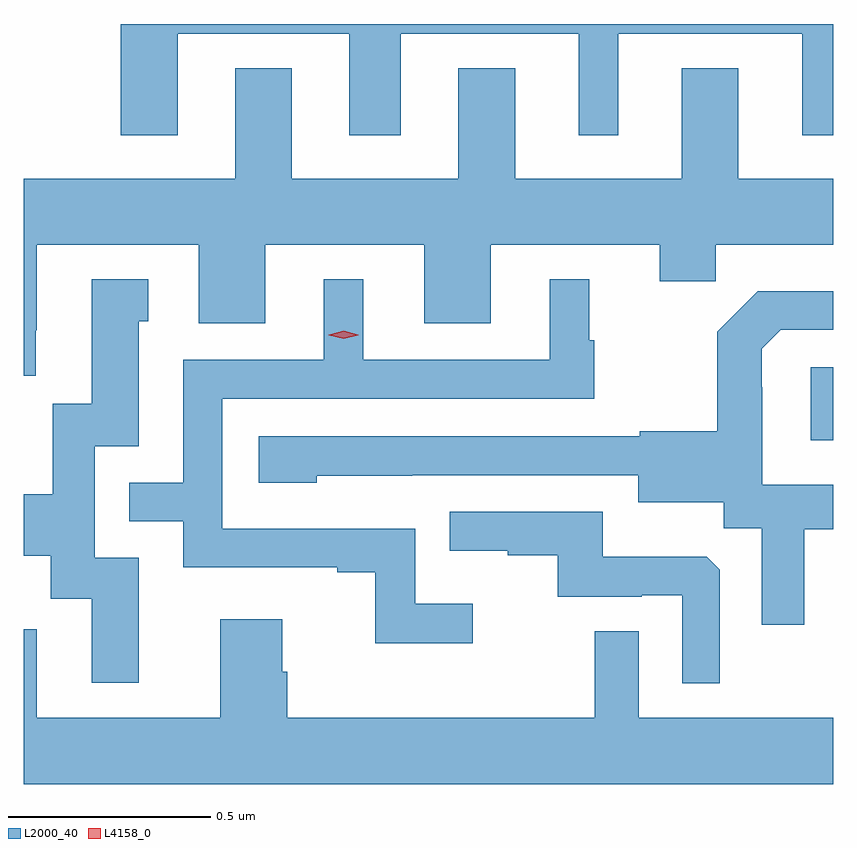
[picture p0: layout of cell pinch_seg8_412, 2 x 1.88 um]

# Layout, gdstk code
import gdstk
lib = gdstk.Library(unit=1e-6, precision=1e-09)
def R(c, l, rs):  # rectangles x0, y0, x1, y1
    for r in rs: c.add(gdstk.rectangle(r[:2], r[2:], *l))
def P(c, l, *ps):  # polygons
    for p in ps: c.add(gdstk.Polygon(p, *l))
L2000_40 = (2000, 40)
L4158_0 = (4158, 0)

pinch_seg8_412 = lib.new_cell('pinch_seg8_412')
R(pinch_seg8_412, L2000_40, [(503.867,1121.346,503.923,1121.526)])
P(pinch_seg8_412, L2000_40, [(502.303,1122.35),(502.727,1122.35),(502.727,1122.099),(502.855,1122.099),(502.855,1122.35),(503.294,1122.35),(503.294,1122.099),(503.392,1122.099),(503.392,1122.35),(503.846,1122.35),(503.846,1122.099),(503.923,1122.099),(503.923,1122.374),(502.163,1122.374),(502.163,1122.099),(502.303,1122.099)],
  [(501.952,1121.617),(501.955,1121.617),(501.955,1121.828),(502.355,1121.828),(502.355,1121.634),(502.519,1121.634),(502.519,1121.828),(502.913,1121.828),(502.913,1121.634),(503.077,1121.634),(503.077,1121.828),(503.495,1121.828),(503.495,1121.738),(503.633,1121.738),(503.633,1121.828),(503.923,1121.828),(503.923,1121.992),(503.689,1121.992),(503.689,1122.265),(503.549,1122.265),(503.549,1121.992),(503.137,1121.992),(503.137,1122.265),(502.997,1122.265),(502.997,1121.992),(502.585,1121.992),(502.585,1122.265),(502.445,1122.265),(502.445,1121.992),(501.923,1121.992),(501.923,1121.505),(501.952,1121.505)],
  [(503.032,1120.942),(502.89,1120.942),(502.89,1121.127),(502.413,1121.127),(502.413,1121.448),(503.332,1121.448),(503.332,1121.592),(503.32,1121.592),(503.32,1121.743),(503.222,1121.743),(503.222,1121.544),(502.762,1121.544),(502.762,1121.743),(502.664,1121.743),(502.664,1121.544),(502.317,1121.544),(502.317,1121.241),(502.183,1121.241),(502.183,1121.145),(502.317,1121.145),(502.317,1121.031),(502.697,1121.031),(502.697,1121.019),(502.792,1121.019),(502.792,1120.844),(503.032,1120.844)],
  [(502.207,1121.055),(502.098,1121.055),(502.098,1121.331),(502.207,1121.331),(502.207,1121.64),(502.231,1121.64),(502.231,1121.743),(502.091,1121.743),(502.091,1121.436),(501.995,1121.436),(501.995,1121.212),(501.923,1121.212),(501.923,1121.06),(501.99,1121.06),(501.99,1120.954),(502.091,1120.954),(502.091,1120.746),(502.207,1120.746)],
  [(503.851,1121.126),(503.923,1121.126),(503.923,1121.236),(503.748,1121.236),(503.748,1121.477),(503.746,1121.477),(503.746,1121.572),(503.793,1121.619),(503.923,1121.619),(503.923,1121.713),(503.737,1121.713),(503.637,1121.613),(503.637,1121.368),(503.445,1121.368),(503.445,1121.355),(502.503,1121.355),(502.503,1121.24),(502.647,1121.24),(502.647,1121.258),(502.883,1121.258),(502.883,1121.259),(503.441,1121.259),(503.441,1121.192),(503.652,1121.192),(503.652,1121.128),(503.747,1121.128),(503.747,1120.89),(503.851,1120.89)],
  [(503.643,1121.025),(503.611,1121.057),(503.353,1121.057),(503.353,1121.169),(502.975,1121.169),(502.975,1121.072),(503.119,1121.072),(503.119,1121.061),(503.243,1121.061),(503.243,1120.959),(503.45,1120.959),(503.45,1120.962),(503.55,1120.962),(503.55,1120.745),(503.643,1120.745)],
  [(503.923,1120.66),(503.442,1120.66),(503.442,1120.874),(503.334,1120.874),(503.334,1120.66),(502.574,1120.66),(502.574,1120.773),(502.561,1120.773),(502.561,1120.903),(502.409,1120.903),(502.409,1120.66),(501.955,1120.66),(501.955,1120.879),(501.923,1120.879),(501.923,1120.496),(503.923,1120.496)])
P(pinch_seg8_412, L4158_0, [(502.713,1121.596),(502.677,1121.605),(502.677,1121.606),(502.677,1121.606),(502.713,1121.616),(502.749,1121.606),(502.749,1121.606),(502.749,1121.605)])

lib.write_gds('pinch_seg8_412.gds')
